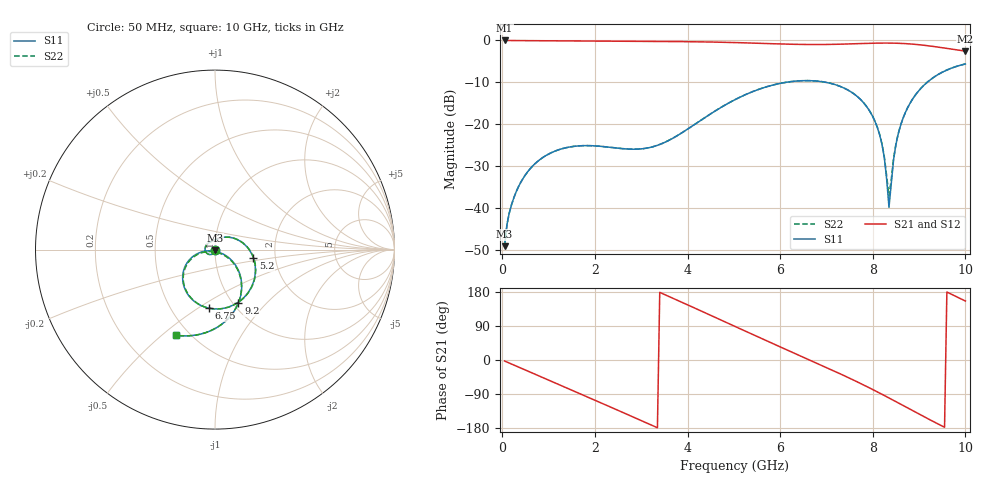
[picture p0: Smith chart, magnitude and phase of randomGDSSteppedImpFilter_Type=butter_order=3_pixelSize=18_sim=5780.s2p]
! freq	dB(S11)	phase(S11)	dB(S12)	phase(S12)
!  dB(S21)	phase(S21)	dB(S22)	phase(S22)
!S-par simulation data
#  GHz  S  DB  R 50
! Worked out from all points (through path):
!   200 points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, 50 MHz to 10 GHz, reference 50 ohm
!   highest |S21| = -0.01 dB at 50 MHz (marker M1); lowest = -2.6 dB at 10 GHz (marker M2)
!   group delay of S21, straight-line fit = 155 ps
!   lowest |S11| = -49.1 dB at 50 MHz (marker M3), VSWR 1.01, Z = 50 - j0.347 ohm
!   |S11| at or under -10 dB: start of sweep to 6.132 GHz; 6.982 GHz to 9.175 GHz (2.193 GHz wide, 27.1 % of centre)
!   |S22| runs from -49.1 to -5.6 dB; largest |S21 - S12| = 0
!   S11 on the Smith chart (normalised r, x): 50 MHz: 1.00, -0.01; 5.2 GHz: 1.53, -0.15; 6.75 GHz: 0.76, -0.56; 9.2 GHz: 1.06, -0.70; 10 GHz: 0.43, -0.56
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0.05  -49.14 -83.5  -0.01 -2.7  -0.01 -2.7  -49.15 -83.6
0.2  -39.22 -91.4  -0.03 -10.7  -0.03 -10.7  -39.22 -91.5
0.55  -31.34 -117.1  -0.05 -29.2  -0.05 -29.2  -31.34 -117.3
1.2  -26.18 -154.4  -0.09 -63.6  -0.09 -63.6  -26.18 -154.9
1.75  -25.14 175.5  -0.12 -92.8  -0.12 -92.8  -25.14 174.8
2.65  -25.90 126.1  -0.18 -140.9  -0.18 -140.9  -25.90 124.9
3.4  -24.86 84.9  -0.24 178.5  -0.24 178.5  -24.85 84.1
4.3  -18.98 36.6  -0.34 129.0  -0.34 129.0  -18.98 36.8
5.05  -14.00 -4.1  -0.52 87.2  -0.52 87.2  -14.00 -3.5
5.2  -13.20 -12.2  -0.56 78.9  -0.56 78.9  -13.20 -11.6
6  -10.26 -55.5  -0.84 34.7  -0.84 34.7  -10.26 -54.7
6.7  -9.64 -92.9  -0.98 -3.4  -0.98 -3.4  -9.63 -92.0
6.75  -9.67 -95.5  -0.98 -6.2  -0.98 -6.2  -9.67 -94.6
7.35  -11.23 -128.0  -0.89 -39.5  -0.89 -39.5  -11.22 -126.9
7.95  -17.19 -161.1  -0.68 -74.9  -0.68 -74.9  -17.16 -159.1
8.2  -24.89 -171.2  -0.63 -90.5  -0.63 -90.5  -24.77 -166.9
8.25  -28.09 -170.1  -0.63 -93.7  -0.63 -93.7  -27.84 -164.2
8.35  -39.86 -106.0  -0.63 -100.1  -0.63 -100.1  -37.17 -104.7
8.45  -28.42 -30.1  -0.65 -106.6  -0.65 -106.6  -28.17 -35.5
8.6  -20.32 -31.2  -0.70 -116.4  -0.70 -116.4  -20.28 -33.2
9.2  -9.77 -66.3  -1.28 -155.6  -1.28 -155.6  -9.76 -66.5
10  -5.62 -114.3  -2.55 155.7  -2.55 155.7  -5.62 -114.2
